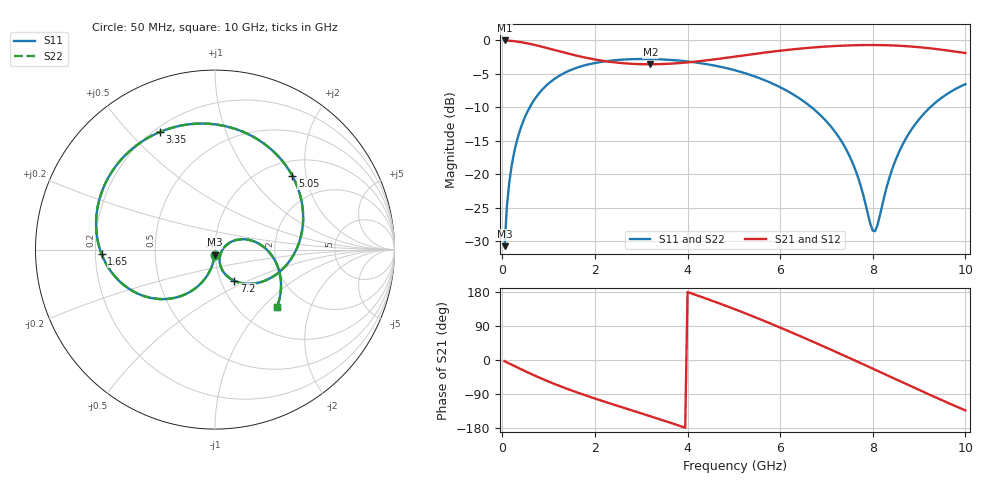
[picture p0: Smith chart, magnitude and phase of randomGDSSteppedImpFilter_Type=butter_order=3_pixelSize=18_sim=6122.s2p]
! freq	dB(S11)	phase(S11)	dB(S12)	phase(S12)
!  dB(S21)	phase(S21)	dB(S22)	phase(S22)
!S-par simulation data
#  GHz  S  DB  R 50
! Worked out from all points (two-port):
!   200 points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, 50 MHz to 10 GHz, reference 50 ohm
!   highest |S21| = -0.01 dB at 50 MHz (marker M1); lowest = -3.6 dB at 3.2 GHz (marker M2)
!   |S21| within 3 dB of the highest: start of sweep to 2.135 GHz; 4.376 GHz to end of sweep
!   lowest |S11| = -30.7 dB at 50 MHz (marker M3), VSWR 1.06, Z = 49.8 - j2.9 ohm
!   |S11| at or under -10 dB: start of sweep to 591.9 MHz; 6.68 GHz to 9.238 GHz (2.558 GHz wide, 32.1 % of centre)
!   |S22| runs from -30.7 to -2.8 dB; largest |S21 - S12| = 0
!   S11 on the Smith chart (normalised r, x): 50 MHz: 1.00, -0.06; 1.65 GHz: 0.23, -0.02; 3.35 GHz: 0.22, +0.61; 5.05 GHz: 1.31, +1.67; 7.2 GHz: 1.16, -0.42; 10 GHz: 1.46, -1.21
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0.05  -30.72 -93.2  -0.01 -3.1  -0.01 -3.1  -30.72 -93.2
0.1  -24.73 -96.4  -0.02 -6.2  -0.02 -6.2  -24.73 -96.4
0.2  -18.80 -102.7  -0.08 -12.2  -0.08 -12.2  -18.80 -102.7
0.45  -12.11 -117.6  -0.32 -27.0  -0.32 -27.0  -12.11 -117.6
1  -6.43 -147.5  -1.20 -56.9  -1.20 -56.9  -6.43 -147.5
1.65  -3.99 -177.6  -2.35 -87.1  -2.35 -87.1  -3.99 -177.6
1.75  -3.78 178.1  -2.51 -91.3  -2.51 -91.3  -3.78 178.1
2.45  -2.95 150.0  -3.30 -119.5  -3.30 -119.5  -2.95 150.0
3.2  -2.78 121.0  -3.56 -148.6  -3.56 -148.6  -2.78 121.0
3.35  -2.81 115.2  -3.55 -154.4  -3.55 -154.4  -2.81 115.2
3.4  -2.82 113.2  -3.54 -156.4  -3.54 -156.4  -2.82 113.2
4.2  -3.32 80.9  -3.14 170.8  -3.14 170.8  -3.32 80.8
5.05  -4.51 43.6  -2.40 132.6  -2.40 132.6  -4.51 43.5
5.95  -6.82 1.0  -1.58 88.2  -1.58 88.2  -6.82 0.8
6.7  -10.11 -35.5  -1.06 48.7  -1.06 48.7  -10.11 -35.6
7.2  -13.78 -58.2  -0.83 21.6  -0.83 21.6  -13.78 -58.3
7.6  -18.89 -71.0  -0.72 -0.5  -0.72 -0.5  -18.88 -70.9
8  -28.41 -32.7  -0.69 -22.8  -0.69 -22.8  -28.30 -32.7
8.35  -20.70 25.4  -0.73 -42.4  -0.73 -42.4  -20.69 25.1
8.7  -14.84 18.4  -0.85 -62.1  -0.85 -62.1  -14.84 18.2
9.15  -10.60 -1.3  -1.11 -87.2  -1.11 -87.2  -10.60 -1.4
10  -6.53 -43.0  -1.89 -133.1  -1.89 -133.1  -6.53 -43.0
